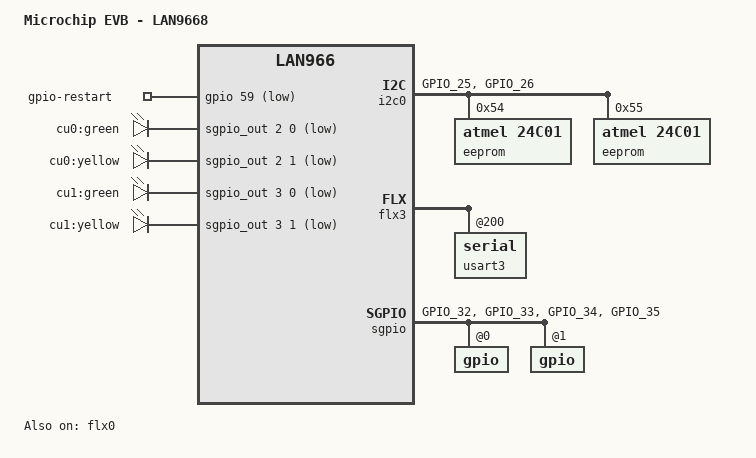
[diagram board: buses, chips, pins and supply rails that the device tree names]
// SPDX-License-Identifier: (GPL-2.0+ OR MIT)
/*
 * lan966x-pcb8385.dts - Device Tree file for PCB8385
 */
/dts-v1/;

#include "lan966x.dtsi"
#include "dt-bindings/phy/phy-lan966x-serdes.h"

/ {
	model = "Microchip EVB - LAN9668";
	compatible = "microchip,lan9668-pcb8385", "microchip,lan9668", "microchip,lan966";

	chosen {
		stdout-path = "serial0:115200n8";
	};

	aliases {
		serial0 = &usart3;
	};

	gpio-restart {
		compatible = "gpio-restart";
		gpios = <&gpio 59 GPIO_ACTIVE_LOW>;
		open-source;
		priority = <200>;
	};

	leds {
		compatible = "gpio-leds";

		led-p1-green {
			label = "cu0:green";
			gpios = <&sgpio_out 2 0 GPIO_ACTIVE_LOW>;
			default-state = "off";
			linux,default-trigger = "e200413c.mdio-mii:01:link";
		};

		led-p1-yellow {
			label = "cu0:yellow";
			gpios = <&sgpio_out 2 1 GPIO_ACTIVE_LOW>;
			default-state = "off";
		};

		led-p2-green {
			label = "cu1:green";
			gpios = <&sgpio_out 3 0 GPIO_ACTIVE_LOW>;
			default-state = "off";
			linux,default-trigger = "e200413c.mdio-mii:02:link";
		};

		led-p2-yellow {
			label = "cu1:yellow";
			gpios = <&sgpio_out 3 1 GPIO_ACTIVE_LOW>;
			default-state = "off";
		};
	};
};

&aes {
	status = "disabled"; /* Reserved by secure OS */
};

&gpio {
	fc0_b_pins: fc0-b-pins {
		/* SCL, SDA */
		pins = "GPIO_25", "GPIO_26";
		function = "fc0_b";
	};

	fc3_b_pins: fc3-b-pins {
		/* RX, TX */
		pins = "GPIO_52", "GPIO_53";
		function = "fc3_b";
	};

	sgpio_a_pins: sgpio-a-pins {
		/* SCK, D0, D1, LD */
		pins = "GPIO_32", "GPIO_33", "GPIO_34", "GPIO_35";
		function = "sgpio_a";
	};
};

&flx0 {
	atmel,flexcom-mode = <ATMEL_FLEXCOM_MODE_TWI>;
	status = "okay";

	i2c0: i2c@600 {
		pinctrl-0 = <&fc0_b_pins>;
		pinctrl-names = "default";
		dmas = <0>, <0>;
		i2c-analog-filter;
		i2c-digital-filter;
		i2c-digital-filter-width-ns = <35>;
		i2c-sda-hold-time-ns = <1500>;
		status = "okay";
	};
};

&flx3 {
	atmel,flexcom-mode = <ATMEL_FLEXCOM_MODE_USART>;
	status = "okay";

	usart3: serial@200 {
		pinctrl-0 = <&fc3_b_pins>;
		pinctrl-names = "default";
		status = "okay";
	};
};

&i2c0 {
	eeprom@54 {
		compatible = "atmel,24c01";
		reg = <0x54>;
		status = "okay";
	};

	eeprom@55 {
		compatible = "atmel,24c01";
		reg = <0x55>;
		status = "okay";
	};
};

&sgpio {
	pinctrl-0 = <&sgpio_a_pins>;
	pinctrl-names = "default";
	microchip,sgpio-port-ranges = <0 3>;
	status = "okay";

	gpio@0 {
		ngpios = <64>;
	};
	gpio@1 {
		ngpios = <64>;
	};
};
